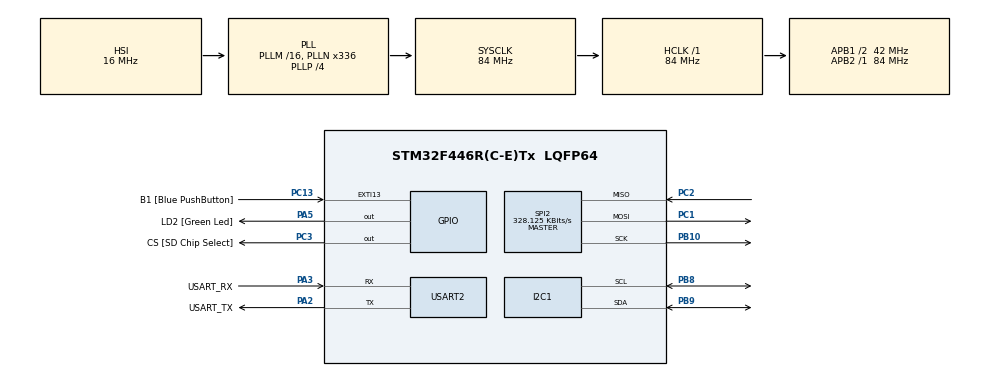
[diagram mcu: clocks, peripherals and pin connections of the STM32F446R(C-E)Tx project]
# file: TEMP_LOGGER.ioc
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Mcu.Family=STM32F4
Mcu.Name=STM32F446R(C-E)Tx
Mcu.Package=LQFP64
NVIC.EXTI15_10_IRQn=true\:0\:0\:false\:false\:true\:true\:true\:true
NVIC.PriorityGroup=NVIC_PRIORITYGROUP_0
PA13.GPIO_Label=TMS
PA13.Signal=SYS_JTMS-SWDIO
PA14.GPIO_Label=TCK
PA14.Signal=SYS_JTCK-SWCLK
PA2.GPIO_Label=USART_TX
PA2.Mode=Asynchronous
PA2.Signal=USART2_TX
PA3.GPIO_Label=USART_RX
PA3.Mode=Asynchronous
PA3.Signal=USART2_RX
PA5.GPIO_Label=LD2 [Green Led]
PA5.Signal=GPIO_Output
PB10.Mode=Full_Duplex_Master
PB10.Signal=SPI2_SCK
PB3.GPIO_Label=SWO
PB3.Signal=SYS_JTDO-SWO
PB8.Mode=I2C
PB8.Signal=I2C1_SCL
PB9.Mode=I2C
PB9.Signal=I2C1_SDA
PC1.Mode=Full_Duplex_Master
PC1.Signal=SPI2_MOSI
PC13.GPIO_Label=B1 [Blue PushButton]
PC13.GPIO_ModeDefaultEXTI=GPIO_MODE_IT_FALLING
PC13.GPIO_PuPd=GPIO_NOPULL
PC13.Signal=GPXTI13
PC14-OSC32_IN.Signal=RCC_OSC32_IN
PC15-OSC32_OUT.Signal=RCC_OSC32_OUT
PC2.Mode=Full_Duplex_Master
PC2.Signal=SPI2_MISO
PC3.GPIO_Label=CS [SD Chip Select]
PC3.GPIO_PuPd=GPIO_PULLUP
PC3.Signal=GPIO_Output
PH0-OSC_IN.Signal=RCC_OSC_IN
PH1-OSC_OUT.Signal=RCC_OSC_OUT
ProjectManager.HeapSize=0x200
ProjectManager.StackSize=0x400
ProjectManager.TargetToolchain=Makefile
RCC.AHBFreq_Value=84000000
RCC.APB1CLKDivider=RCC_HCLK_DIV2
RCC.APB1Freq_Value=42000000
RCC.APB1TimFreq_Value=84000000
RCC.APB2Freq_Value=84000000
RCC.APB2TimFreq_Value=84000000
RCC.CortexFreq_Value=84000000
RCC.FLatency-AdvancedSettings=FLASH_LATENCY_2
RCC.HCLKFreq_Value=84000000
RCC.HSE_VALUE=8000000
RCC.HSI_VALUE=16000000
RCC.LSE_VALUE=32768
RCC.PLLN=336
RCC.PLLP=RCC_PLLP_DIV4
RCC.SYSCLKFreq_VALUE=84000000
RCC.SYSCLKSource=RCC_SYSCLKSOURCE_PLLCLK
RCC.USBFreq_Value=168000000
RCC.VCOOutputFreq_Value=336000000
SPI2.BaudRatePrescaler=SPI_BAUDRATEPRESCALER_128
SPI2.CalculateBaudRate=328.125 KBits/s
SPI2.Direction=SPI_DIRECTION_2LINES
SPI2.Mode=SPI_MODE_MASTER
SPI2.VirtualType=VM_MASTER
USART2.VirtualMode=VM_ASYNC
VP_FATFS_VS_Generic.Mode=User_defined
board=NUCLEO-F446RE

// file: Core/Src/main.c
/* USER CODE BEGIN Header */
/**
  ******************************************************************************
  * @file           : main.c
  * @brief          : Main program body
  ******************************************************************************
  * @attention
  *
  * Copyright (c) 2026 STMicroelectronics.
  * All rights reserved.
  *
  * This software is licensed under terms that can be found in the LICENSE file
  * in the root directory of this software component.
  * If no LICENSE file comes with this software, it is provided AS-IS.
  *
  ******************************************************************************
  */
/* USER CODE END Header */
#include "main.h"
#include "fatfs.h"

/* USER CODE BEGIN Includes */
#include <stdio.h>
#include <string.h>
#include "bme280.h"
#include "bme280_defs.h"
#include "ff.h"

/* USER CODE END Includes */

/* USER CODE BEGIN PD */
#define DEBOUNCE_MS 100
#define MAX_DELAY 10 // True max is 8.725ms

#define ERROR -1
/* USER CODE END PD */

I2C_HandleTypeDef hi2c1;

SPI_HandleTypeDef hspi2;

UART_HandleTypeDef huart2;

/* USER CODE BEGIN PV */

// --- BME280 CONFIG ---

// Device Address
const uint8_t bme_addr = 0x76 << 1;

// Results
uint8_t result_buf[8];

// API Config
struct bme280_dev bme_dev;
struct bme280_settings bme_settings;
struct bme280_data bme_data;

// --- GPIO CONFIG ---
volatile uint8_t button_pressed = 0;

volatile uint32_t current_time = 0;
volatile uint32_t last_click_time = 0;

// -- FATFS --
FATFS fs;
FIL file;
FRESULT res;
UINT bytes_written;

char buf[64];

/* USER CODE END PV */

void SystemClock_Config(void);
static void MX_GPIO_Init(void);
static void MX_I2C1_Init(void);
static void MX_USART2_UART_Init(void);
static void MX_SPI2_Init(void);
/* USER CODE BEGIN PFP */

int8_t read_data(uint8_t reg_addr, uint8_t *reg_data, uint32_t len, void *intf_ptr);
int8_t write_data(uint8_t reg_addr, const uint8_t *reg_data, uint32_t len, void *intf_ptr);
void bme_delay(uint32_t period, void *intf_ptr);
/* USER CODE END PFP */

/* USER CODE BEGIN 0 */

int8_t read_data(uint8_t reg_addr, uint8_t *reg_data, uint32_t len, void *intf_ptr) {
  HAL_StatusTypeDef status = HAL_I2C_Mem_Read(&hi2c1, bme_addr, reg_addr, I2C_MEMADD_SIZE_8BIT, reg_data, len, 100);

  if (status == HAL_OK) {
    return BME280_INTF_RET_SUCCESS;
  } else {
    return ERROR;
  }
}

int8_t write_data(uint8_t reg_addr, const uint8_t *reg_data, uint32_t len, void *intf_ptr) {
  HAL_StatusTypeDef status = HAL_I2C_Mem_Write(&hi2c1, bme_addr, reg_addr, I2C_MEMADD_SIZE_8BIT, (uint8_t *) reg_data, len, 100);

  if (status == HAL_OK) {
    return BME280_INTF_RET_SUCCESS;
  } else {
    return ERROR;
  }
}

void bme_delay(uint32_t period, void *intf_ptr) {
  HAL_Delay((period / 1000) + 1);
}

/* USER CODE END 0 */

int main(void)
{

  /* MCU Configuration--------------------------------------------------------*/

  /* Reset of all peripherals, Initializes the Flash interface and the Systick. */
  HAL_Init();

  /* Configure the system clock */
  SystemClock_Config();

  /* Initialize all configured peripherals */
  MX_GPIO_Init();
  MX_I2C1_Init();
  MX_USART2_UART_Init();
  MX_SPI2_Init();
  MX_FATFS_Init();
  /* USER CODE BEGIN 2 */

  // Initialize Sensor
  bme_dev.intf = BME280_I2C_INTF;
  bme_dev.intf_ptr = (void *)&bme_addr;
  bme_dev.read = read_data;
  bme_dev.write = write_data;
  bme_dev.delay_us = bme_delay;

  int8_t init_resp = bme280_init(&bme_dev);

  if (init_resp != BME280_OK) {
    Error_Handler();
  }

  // Configure Sensor Settings
  bme_settings.osr_h = BME280_OVERSAMPLING_1X;
  bme_settings.osr_p = BME280_OVERSAMPLING_1X;
  bme_settings.osr_t = BME280_OVERSAMPLING_1X;
  bme_settings.filter = BME280_FILTER_COEFF_OFF;

  uint8_t settings_sel = BME280_SEL_OSR_PRESS | BME280_SEL_OSR_TEMP | BME280_SEL_OSR_HUM | BME280_SEL_FILTER;
  int8_t settings_resp = bme280_set_sensor_settings(settings_sel, &bme_settings, &bme_dev);

  if (settings_resp != BME280_OK) {
    Error_Handler();
  }

  // Mount SD Card
  res = f_mount(&fs, "", 1);

  if (res != FR_OK) {
    Error_Handler();
  }

  // Write CSV header only if file doesn't exist yet
  if (f_open(&file, "log.csv", FA_WRITE | FA_CREATE_NEW) == FR_OK) {
    f_write(&file, "temperature_c,pressure_hpa,humidity_pct\r\n", 41, &bytes_written);
    f_close(&file);
  }

  /* USER CODE END 2 */

  /* Infinite loop */
  while (1)
  {

    /* USER CODE BEGIN 3 */
    if (button_pressed == 1) {
      button_pressed = 0;

      bme280_set_sensor_mode(BME280_POWERMODE_FORCED, &bme_dev);
      HAL_Delay(MAX_DELAY);
      bme280_get_sensor_data(BME280_ALL, &bme_data, &bme_dev);

      int len = snprintf(buf, sizeof(buf), "%.2f,%.2f,%.2f\r\n",
                         bme_data.temperature,
                         bme_data.pressure / 100.0,
                         bme_data.humidity);
      if (f_open(&file, "log.csv", FA_WRITE | FA_OPEN_APPEND) == FR_OK) {
        f_write(&file, buf, len, &bytes_written);
        f_close(&file);
      }
    }
  }
  /* USER CODE END 3 */
}

void SystemClock_Config(void)
{
  RCC_OscInitTypeDef RCC_OscInitStruct = {0};
  RCC_ClkInitTypeDef RCC_ClkInitStruct = {0};

  /** Configure the main internal regulator output voltage
  */
  __HAL_RCC_PWR_CLK_ENABLE();
  __HAL_PWR_VOLTAGESCALING_CONFIG(PWR_REGULATOR_VOLTAGE_SCALE3);

  /** Initializes the RCC Oscillators according to the specified parameters
  * in the RCC_OscInitTypeDef structure.
  */
  RCC_OscInitStruct.OscillatorType = RCC_OSCILLATORTYPE_HSI;
  RCC_OscInitStruct.HSIState = RCC_HSI_ON;
  RCC_OscInitStruct.HSICalibrationValue = RCC_HSICALIBRATION_DEFAULT;
  RCC_OscInitStruct.PLL.PLLState = RCC_PLL_ON;
  RCC_OscInitStruct.PLL.PLLSource = RCC_PLLSOURCE_HSI;
  RCC_OscInitStruct.PLL.PLLM = 16;
  RCC_OscInitStruct.PLL.PLLN = 336;
  RCC_OscInitStruct.PLL.PLLP = RCC_PLLP_DIV4;
  RCC_OscInitStruct.PLL.PLLQ = 2;
  RCC_OscInitStruct.PLL.PLLR = 2;
  if (HAL_RCC_OscConfig(&RCC_OscInitStruct) != HAL_OK)
  {
    Error_Handler();
  }

  /** Initializes the CPU, AHB and APB buses clocks
  */
  RCC_ClkInitStruct.ClockType = RCC_CLOCKTYPE_HCLK|RCC_CLOCKTYPE_SYSCLK
                              |RCC_CLOCKTYPE_PCLK1|RCC_CLOCKTYPE_PCLK2;
  RCC_ClkInitStruct.SYSCLKSource = RCC_SYSCLKSOURCE_PLLCLK;
  RCC_ClkInitStruct.AHBCLKDivider = RCC_SYSCLK_DIV1;
  RCC_ClkInitStruct.APB1CLKDivider = RCC_HCLK_DIV2;
  RCC_ClkInitStruct.APB2CLKDivider = RCC_HCLK_DIV1;

  if (HAL_RCC_ClockConfig(&RCC_ClkInitStruct, FLASH_LATENCY_2) != HAL_OK)
  {
    Error_Handler();
  }
}

static void MX_I2C1_Init(void)
{

  hi2c1.Instance = I2C1;
  hi2c1.Init.ClockSpeed = 100000;
  hi2c1.Init.DutyCycle = I2C_DUTYCYCLE_2;
  hi2c1.Init.OwnAddress1 = 0;
  hi2c1.Init.AddressingMode = I2C_ADDRESSINGMODE_7BIT;
  hi2c1.Init.DualAddressMode = I2C_DUALADDRESS_DISABLE;
  hi2c1.Init.OwnAddress2 = 0;
  hi2c1.Init.GeneralCallMode = I2C_GENERALCALL_DISABLE;
  hi2c1.Init.NoStretchMode = I2C_NOSTRETCH_DISABLE;
  if (HAL_I2C_Init(&hi2c1) != HAL_OK)
  {
    Error_Handler();
  }

}

static void MX_SPI2_Init(void)
{

  /* SPI2 parameter configuration*/
  hspi2.Instance = SPI2;
  hspi2.Init.Mode = SPI_MODE_MASTER;
  hspi2.Init.Direction = SPI_DIRECTION_2LINES;
  hspi2.Init.DataSize = SPI_DATASIZE_8BIT;
  hspi2.Init.CLKPolarity = SPI_POLARITY_LOW;
  hspi2.Init.CLKPhase = SPI_PHASE_1EDGE;
  hspi2.Init.NSS = SPI_NSS_SOFT;
  hspi2.Init.BaudRatePrescaler = SPI_BAUDRATEPRESCALER_128;
  hspi2.Init.FirstBit = SPI_FIRSTBIT_MSB;
  hspi2.Init.TIMode = SPI_TIMODE_DISABLE;
  hspi2.Init.CRCCalculation = SPI_CRCCALCULATION_DISABLE;
  hspi2.Init.CRCPolynomial = 10;
  if (HAL_SPI_Init(&hspi2) != HAL_OK)
  {
    Error_Handler();
  }

}

static void MX_USART2_UART_Init(void)
{

  huart2.Instance = USART2;
  huart2.Init.BaudRate = 115200;
  huart2.Init.WordLength = UART_WORDLENGTH_8B;
  huart2.Init.StopBits = UART_STOPBITS_1;
  huart2.Init.Parity = UART_PARITY_NONE;
  huart2.Init.Mode = UART_MODE_TX_RX;
  huart2.Init.HwFlowCtl = UART_HWCONTROL_NONE;
  huart2.Init.OverSampling = UART_OVERSAMPLING_16;
  if (HAL_UART_Init(&huart2) != HAL_OK)
  {
    Error_Handler();
  }

}

static void MX_GPIO_Init(void)
{
  GPIO_InitTypeDef GPIO_InitStruct = {0};

  /* GPIO Ports Clock Enable */
  __HAL_RCC_GPIOC_CLK_ENABLE();
  __HAL_RCC_GPIOH_CLK_ENABLE();
  __HAL_RCC_GPIOA_CLK_ENABLE();
  __HAL_RCC_GPIOB_CLK_ENABLE();

  /*Configure GPIO pin Output Level */
  HAL_GPIO_WritePin(CS_GPIO_Port, CS_Pin, GPIO_PIN_RESET);

  /*Configure GPIO pin Output Level */
  HAL_GPIO_WritePin(LD2_GPIO_Port, LD2_Pin, GPIO_PIN_RESET);

  /*Configure GPIO pin : B1_Pin */
  GPIO_InitStruct.Pin = B1_Pin;
  GPIO_InitStruct.Mode = GPIO_MODE_IT_FALLING;
  GPIO_InitStruct.Pull = GPIO_NOPULL;
  HAL_GPIO_Init(B1_GPIO_Port, &GPIO_InitStruct);

  /*Configure GPIO pin : CS_Pin */
  GPIO_InitStruct.Pin = CS_Pin;
  GPIO_InitStruct.Mode = GPIO_MODE_OUTPUT_PP;
  GPIO_InitStruct.Pull = GPIO_PULLUP;
  GPIO_InitStruct.Speed = GPIO_SPEED_FREQ_LOW;
  HAL_GPIO_Init(CS_GPIO_Port, &GPIO_InitStruct);

  /*Configure GPIO pin : LD2_Pin */
  GPIO_InitStruct.Pin = LD2_Pin;
  GPIO_InitStruct.Mode = GPIO_MODE_OUTPUT_PP;
  GPIO_InitStruct.Pull = GPIO_NOPULL;
  GPIO_InitStruct.Speed = GPIO_SPEED_FREQ_LOW;
  HAL_GPIO_Init(LD2_GPIO_Port, &GPIO_InitStruct);

  /* EXTI interrupt init*/
  HAL_NVIC_SetPriority(EXTI15_10_IRQn, 0, 0);
  HAL_NVIC_EnableIRQ(EXTI15_10_IRQn);

}

/* USER CODE BEGIN 4 */
void HAL_GPIO_EXTI_Callback(uint16_t GPIO_Pin) {
  current_time = HAL_GetTick();

  if (GPIO_Pin == B1_Pin) {
    if (current_time - last_click_time > DEBOUNCE_MS) {
      button_pressed = 1;
      last_click_time = current_time;

      HAL_GPIO_TogglePin(LD2_GPIO_Port, LD2_Pin);
    }

  }
}

/* USER CODE END 4 */

void Error_Handler(void)
{
  __disable_irq();
  while (1)
  {
  }
}
